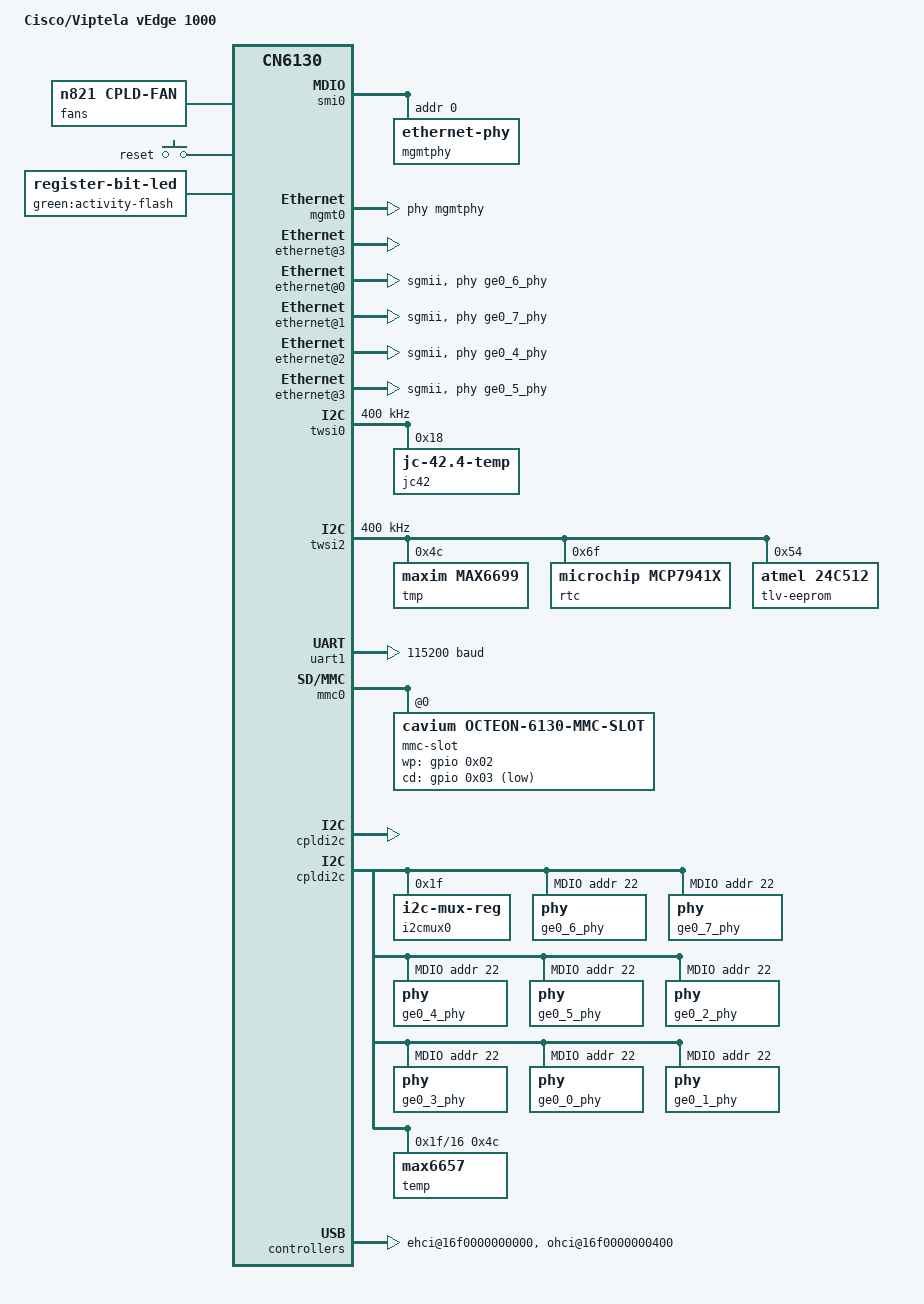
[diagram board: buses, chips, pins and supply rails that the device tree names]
// SPDX-License-Identifier: GPL-2.0-or-later OR MIT

#include <dt-bindings/gpio/gpio.h>
#include <dt-bindings/input/input.h>
#include <dt-bindings/interrupt-controller/irq.h>

/include/ "octeon_3xxx.dtsi"

/ {
	compatible = "cisco,vedge1000", "cavium,cn6130";
	model = "Cisco/Viptela vEdge 1000";
	#address-cells = <2>;
	#size-cells = <2>;
	interrupt-parent = <&ciu>;

	soc@0 {
		gpio: gpio-controller@1070000000800 {
			interrupts = <0x00 0x10>;
		};

		smi0: mdio@1180000001800 {
			mgmtphy: ethernet-phy@0 {
				reg = <0x00>;
			};
		};

		mgmt0: ethernet@1070000100000 {
			compatible = "cavium,octeon-5750-mix";
			reg = <0x10700 0x100000 0x00 0x100>,
			      <0x11800 0xe0000000 0x00 0x300>,
			      <0x11800 0xe0000400 0x00 0x400>,
			      <0x11800 0xe0002000 0x00 0x08>;
			cell-index = <0x00>;
			interrupts = <0x00 0x3e 0x01 0x2e>;
			nvmem-cells = <&macaddr_eeprom 0>;
			nvmem-cell-names = "mac-address";
			phy-handle = <&mgmtphy>;
		};

		pip: pip@11800a0000000 {
			interface@0 {
				ethernet@0 {
					nvmem-cells = <&macaddr_eeprom 3>;
					nvmem-cell-names = "mac-address";
					label = "lan2";
					/delete-property/ local-mac-address;
                                        cavium,sgmii-mac-1000x-mode;
				};

				ethernet@1 {
					nvmem-cells = <&macaddr_eeprom 4>;
					nvmem-cell-names = "mac-address";
					label = "lan3";
					/delete-property/ local-mac-address;
                                        cavium,sgmii-mac-1000x-mode;
				};

				ethernet@2 {
					nvmem-cells = <&macaddr_eeprom 1>;
					nvmem-cell-names = "mac-address";
					label = "lan0";
					/delete-property/ local-mac-address;
                                        cavium,sgmii-mac-1000x-mode;
				};

				ethernet@3 {
					compatible = "cavium,octeon-3860-pip-port";
					reg = <0x3>;
					nvmem-cells = <&macaddr_eeprom 2>;
					nvmem-cell-names = "mac-address";
					label = "lan1";
                                        cavium,sgmii-mac-1000x-mode;
				};
			};

			interface@1 {
				ethernet@0 {
					compatible = "cavium,octeon-3860-pip-port";
					reg = <0x0>;
					nvmem-cells = <&macaddr_eeprom 7>;
					nvmem-cell-names = "mac-address";
					label = "lan6";
#ifndef PHYLINK_SFP
					phy-handle = <&ge0_6_phy>;
					phy-connection-type = "sgmii";
#endif
				};

				ethernet@1 {
					compatible = "cavium,octeon-3860-pip-port";
					reg = <0x1>;
					nvmem-cells = <&macaddr_eeprom 8>;
					nvmem-cell-names = "mac-address";
					label = "lan7";
#ifndef PHYLINK_SFP
					phy-handle = <&ge0_7_phy>;
					phy-connection-type = "sgmii";
#endif
				};

				ethernet@2 {
					compatible = "cavium,octeon-3860-pip-port";
					reg = <0x2>;
					nvmem-cells = <&macaddr_eeprom 5>;
					nvmem-cell-names = "mac-address";
					label = "lan4";
#ifndef PHYLINK_SFP
					phy-handle = <&ge0_4_phy>;
					phy-connection-type = "sgmii";
#endif
				};

				ethernet@3 {
					compatible = "cavium,octeon-3860-pip-port";
					reg = <0x3>;
					nvmem-cells = <&macaddr_eeprom 6>;
					nvmem-cell-names = "mac-address";
					label = "lan5";
#ifndef PHYLINK_SFP
					phy-handle = <&ge0_5_phy>;
					phy-connection-type = "sgmii";
#endif
				};
			};
		};

		twsi0: i2c@1180000001000 {
			clock-frequency = <400000>;

			jc42@18 {
				compatible = "jedec,jc-42.4-temp";
				reg = <0x18>;
			};
		};

		twsi2: i2c@1180000001200 {
			#address-cells = <1>;
			#size-cells = <0>;
			compatible = "cavium,octeon-3860-twsi";
			reg = <0x11800 0x1200 0x00 0x200>;
			interrupts = <0x00 0x3b>;
			clock-frequency = <400000>;

			tmp@4c {
				compatible = "maxim,max6699";
				reg = <0x4c>;
			};

			rtc@6f {
				compatible = "microchip,mcp7941x";
				reg = <0x6f>;
			};

			tlv-eeprom@54 {
				compatible = "atmel,24c512";
				reg = <0x54>;
				pagesize = <0x80>;

				nvmem-layout {
					compatible = "fixed-layout";
					#address-cells = <1>;
					#size-cells = <1>;

					macaddr_eeprom: mac-address@8 {
						compatible = "mac-base";
						reg = <0x8 6>;
						#nvmem-cell-cells = <1>;
					};
				};
			};
		};

		uart0: serial@1180000000800 {
			clock-frequency = <600000000>;
			current-speed = <115200>;
		};

		uart1: serial@1180000000c00 {
			compatible = "cavium,octeon-3860-uart", "ns16550";
			reg = <0x11800 0xc00 0x00 0x400>;
			reg-shift = <0x03>;
			interrupts = <0x00 0x23>;
			clock-frequency = <600000000>;
			current-speed = <115200>;
		};

		mmc0: mmc@1180000002000 {
			compatible = "cavium,octeon-6130-mmc";
			reg = <0x11800 0x2000 0x00 0x100 0x11800 0x168 0x00 0x20>;
			#address-cells = <1>;
			#size-cells = <0>;
			interrupts = <0x01 0x13 0x00 0x3f>;

			mmc-slot@0 {
				compatible = "cavium,octeon-6130-mmc-slot";
				reg = <0x00>;
				voltage-ranges = <0xce4 0xce4>;
				max-frequency = <0x3197500>;
				wp-gpios = <&gpio 0x02 0x00>;
				cd-gpios = <&gpio 0x03 0x01>;
				cavium,bus-max-width = <0x04>;
			};
		};

		bootbus: bootbus@1180000000000 {
			compatible = "cavium,octeon-3860-bootbus";
			reg = <0x11800 0x00 0x00 0x200>;
			#address-cells = <2>;
			#size-cells = <1>;
			ranges = <0 0 0x00 0x1ec00000 0x1400000>,
				 <1 0 0x10000 0x20000000 0x00>,
				 <2 0 0x10000 0x30000000 0x00>,
				 <3 0 0x10000 0x40000000 0x00>,
				 <4 0 0x10000 0x50000000 0x00>,
				 <5 0 0x10000 0x60000000 0x00>,
				 <6 0 0x00 0x1e000000 0x10000>,
				 <7 0 0x10000 0x80000000 0x00>;

			cavium,cs-config@0 {
				compatible = "cavium,octeon-3860-bootbus-config";
				cavium,cs-index = <0x00>;
				cavium,t-adr = <0x0a>;
				cavium,t-ce = <0x32>;
				cavium,t-oe = <0x32>;
				cavium,t-we = <0x23>;
				cavium,t-rd-hld = <0x19>;
				cavium,t-wr-hld = <0x23>;
				cavium,t-pause = <0x00>;
				cavium,t-wait = <0x12c>;
				cavium,t-page = <0x19>;
				cavium,t-rd-dly = <0x00>;
				cavium,t-ale = <0x03>;
				cavium,pages = <0x00>;
				cavium,bus-width = <0x10>;
			};

			/delete-node/ cavium,cs-config@1;
			/delete-node/ cavium,cs-config@2;
			/delete-node/ cavium,cs-config@3;
			/delete-node/ cavium,cs-config@4;
			/delete-node/ cavium,cs-config@5;

			cavium,cs-config@6 {
				compatible = "cavium,octeon-3860-bootbus-config";
				cavium,cs-index = <0x06>;
				cavium,t-adr = <0x0a>;
				cavium,t-ce = <0x0a>;
				cavium,t-oe = <0xa0>;
				cavium,t-we = <0x64>;
				cavium,t-rd-hld = <0x00>;
				cavium,t-wr-hld = <0x00>;
				cavium,t-pause = <0x32>;
				cavium,t-wait = <0x12c>;
				cavium,t-page = <0x12c>;
				cavium,t-rd-dly = <0x0a>;
				cavium,t-ale = <0x3f>;
				cavium,pages = <0x00>;
				cavium,bus-width = <0x08>;
				/delete-property/ cavium,wait-mode;
			};

			flash0: nor@0,0 {
				compatible = "cfi-flash";
				reg = <0x00 0x00 0x1000000>;
				bank-width = <2>;
				device-width = <1>;

				#address-cells = <1>;
				#size-cells = <1>;

				partition@0 {
					label = "bootloader";
					reg = <0x00 0x200000>;
					read-only;
				};

				partition@fe0000 {
					label = "environment";
					reg = <0xfe0000 0x20000>;
				};
			};

                        cpld: cpld@6,0 {
                                compatible = "cisco,n821-cpld", "syscon", "simple-mfd";
                                #address-cells = <1>;
                                #size-cells = <1>;
                                reg-io-width = <1>; // Syscon uses 4-byte accesses by default

                                reg = <0x06 0x00 0x28>;     // This is the regmap to be defined for syscon devices..
                                ranges = <0 0x06 0x0 0x50>; // .. and this is the addresses to map general subdevices on

                                interrupt-controller;
                                #interrupt-cells = <1>;
                                interrupts-extended = <&gpio 1 IRQ_TYPE_LEVEL_LOW>;

                                cpldi2c: n821-cpld-i2c@38 {
                                        compatible = "n821,cpld-i2c";
                                        reg = <0x38 0x8>;
                                        interrupts = <0>; // TODO: Verify correct IRQ
                                };

                                fans: n821-cpld-fan {
                                        compatible = "n821,cpld-fan";
                                };

                                sfpgpio: n821-cpld-gpio {
                                        compatible = "n821,cpld-gpio";
                                        #gpio-cells = <2>;
                                };

                                psus: n821-cpld-psu {
                                        compatible = "n821,cpld-psu";
                                };

                                poweroff {
                                        compatible = "syscon-poweroff";
                                        regmap = <&cpld>;
                                        offset = <0x5>;
                                        value = <0>;
                                        mask = <0xff>;
                                };

                                reset-button {
                                        compatible = "gpio-keys";
                                        reset {
                                                  label = "reset";
                                                  interrupts = <1>;
                                                  linux,code = <KEY_RESTART>;
                                                  debounce-interval = <60>;
                                        };
                                };

                                sysled {
                                        compatible = "register-bit-led";
                                        offset = <0x12>;
                                        mask = <0x1>;
                                        label = "green:activity";
                                        linux,default-trigger = "heartbeat";
                                        default-state = "on";
                                };
                                sysled-flash {
                                        compatible = "register-bit-led";
                                        offset = <0x12>;
                                        mask = <0x2>;
                                        label = "green:activity-flash";
                                        default-state = "off";
                                };
                                statusled {
                                        compatible = "register-bit-led";
                                        offset = <0x12>;
                                        mask = <0x10>;
                                        label = "green:status";
                                        default-state = "on";
                                };
                                lan0-linkled {
                                        compatible = "register-bit-led";
                                        offset = <0x17>;
                                        mask = <0x1>;
                                        label = "lan0:green:status";
                                };
                                lan0-actled {
                                        compatible = "register-bit-led";
                                        offset = <0x17>;
                                        mask = <0x4>;
                                        label = "lan0:green:activity";
                                };
                                lan1-linkled {
                                        compatible = "register-bit-led";
                                        offset = <0x17>;
                                        mask = <0x10>;
                                        label = "lan1:green:status";
                                };
                                lan1-actled {
                                        compatible = "register-bit-led";
                                        offset = <0x17>;
                                        mask = <0x40>;
                                        label = "lan1:green:activity";
                                };
                                lan2-linkled {
                                        compatible = "register-bit-led";
                                        offset = <0x16>;
                                        mask = <0x1>;
                                        label = "lan2:green:status";
                                };
                                lan2-actled {
                                        compatible = "register-bit-led";
                                        offset = <0x16>;
                                        mask = <0x4>;
                                        label = "lan2:green:activity";
                                };
                                lan3-linkled {
                                        compatible = "register-bit-led";
                                        offset = <0x16>;
                                        mask = <0x10>;
                                        label = "lan3:green:status";
                                };
                                lan3-actled {
                                        compatible = "register-bit-led";
                                        offset = <0x16>;
                                        mask = <0x40>;
                                        label = "lan3:green:activity";
                                };
                                lan4-linkled {
                                        compatible = "register-bit-led";
                                        offset = <0x15>;
                                        mask = <0x1>;
                                        label = "lan4:green:status";
                                };
                                lan4-actled {
                                        compatible = "register-bit-led";
                                        offset = <0x15>;
                                        mask = <0x4>;
                                        label = "lan4:green:activity";
                                };
                                lan5-linkled {
                                        compatible = "register-bit-led";
                                        offset = <0x15>;
                                        mask = <0x10>;
                                        label = "lan5:green:status";
                                };
                                lan5-actled {
                                        compatible = "register-bit-led";
                                        offset = <0x15>;
                                        mask = <0x40>;
                                        label = "lan5:green:activity";
                                };
                                lan6-linkled {
                                        compatible = "register-bit-led";
                                        offset = <0x14>;
                                        mask = <0x1>;
                                        label = "lan6:green:status";
                                };
                                lan6-actled {
                                        compatible = "register-bit-led";
                                        offset = <0x14>;
                                        mask = <0x4>;
                                        label = "lan6:green:activity";
                                };
                                lan7-linkled {
                                        compatible = "register-bit-led";
                                        offset = <0x14>;
                                        mask = <0x10>;
                                        label = "lan7:green:status";
                                };
                                lan7-actled {
                                        compatible = "register-bit-led";
                                        offset = <0x14>;
                                        mask = <0x40>;
                                        label = "lan7:green:activity";
                                };

                                i2cmux0: i2c-mux@1f {
                                        compatible = "i2c-mux-reg";
                                        reg = <0x1f 0x1>;
                                        #address-cells = <1>;
                                        #size-cells = <0>;
                                        i2c-parent = <&cpldi2c>;

                                        ge0_6_i2c: i2c@0 {
                                                reg = <0x00>;
                                                i2c-name = "ge0_6";
                                                #address-cells = <1>;
                                                #size-cells = <0>;
#ifndef PHYLINK_SFP
                                                ge0_6_mdio: mdio@56 {
                                                        compatible = "mdio-i2c-gen";
                                                        reg = <0x56>;
                                                        #address-cells = <1>;
                                                        #size-cells = <0>;
                                                        ge0_6_phy: phy@16 {
                                                                reg = <0x16>;
                                                        };
                                                };
#endif
                                        };

                                        ge0_7_i2c: i2c@1 {
                                                reg = <0x01>;
                                                i2c-name = "ge0_7";
                                                #address-cells = <1>;
                                                #size-cells = <0>;
#ifndef PHYLINK_SFP
                                                ge0_7_mdio: mdio@56 {
                                                        compatible = "mdio-i2c-gen";
                                                        reg = <0x56>;
                                                        #address-cells = <1>;
                                                        #size-cells = <0>;
                                                        ge0_7_phy: phy@16 {
                                                                reg = <0x16>;
                                                        };
                                                };
#endif
                                        };

                                        ge0_4_i2c: i2c@2 {
                                                reg = <0x02>;
                                                i2c-name = "ge0_4";
                                                #address-cells = <1>;
                                                #size-cells = <0>;
#ifndef PHYLINK_SFP
                                                ge0_4_mdio: mdio@56 {
                                                        compatible = "mdio-i2c-gen";
                                                        reg = <0x56>;
                                                        #address-cells = <1>;
                                                        #size-cells = <0>;
                                                        ge0_4_phy: phy@16 {
                                                                reg = <0x16>;
                                                        };
                                                };
#endif
                                        };

                                        ge0_5_i2c: i2c@3 {
                                                reg = <0x03>;
                                                i2c-name = "ge0_5";
                                                #address-cells = <1>;
                                                #size-cells = <0>;
#ifndef PHYLINK_SFP
                                                ge0_5_mdio: mdio@56 {
                                                        compatible = "mdio-i2c-gen";
                                                        reg = <0x56>;
                                                        #address-cells = <1>;
                                                        #size-cells = <0>;
                                                        ge0_5_phy: phy@16 {
                                                                reg = <0x16>;
                                                        };
                                                };
#endif
                                        };

                                        ge0_2_i2c: i2c@4 {
                                                reg = <0x04>;
                                                i2c-name = "ge0_2";
                                                #address-cells = <1>;
                                                #size-cells = <0>;
#ifndef PHYLINK_SFP
                                                ge0_2_mdio: mdio@56 {
                                                        compatible = "mdio-i2c-gen";
                                                        reg = <0x56>;
                                                        #address-cells = <1>;
                                                        #size-cells = <0>;
                                                        ge0_2_phy: phy@16 {
                                                                reg = <0x16>;
                                                        };
                                                };
#endif
                                        };

                                        ge0_3_i2c: i2c@5 {
                                                reg = <0x05>;
                                                i2c-name = "ge0_3";
                                                #address-cells = <1>;
                                                #size-cells = <0>;
#ifndef PHYLINK_SFP
                                                ge0_3_mdio: mdio@56 {
                                                        compatible = "mdio-i2c-gen";
                                                        reg = <0x56>;
                                                        #address-cells = <1>;
                                                        #size-cells = <0>;
                                                        ge0_3_phy: phy@16 {
                                                                reg = <0x16>;
                                                        };
                                                };
#endif
                                        };

                                        ge0_0_i2c: i2c@6 {
                                                reg = <0x06>;
                                                i2c-name = "ge0_0";
                                                #address-cells = <1>;
                                                #size-cells = <0>;
#ifndef PHYLINK_SFP
                                                ge0_0_mdio: mdio@56 {
                                                        compatible = "mdio-i2c-gen";
                                                        reg = <0x56>;
                                                        #address-cells = <1>;
                                                        #size-cells = <0>;
                                                        ge0_0_phy: phy@16 {
                                                                reg = <0x16>;
                                                        };
                                                };
#endif
                                        };

                                        ge0_1_i2c: i2c@7 {
                                                reg = <0x07>;
                                                i2c-name = "ge0_1";
                                                #address-cells = <1>;
                                                #size-cells = <0>;
#ifndef PHYLINK_SFP
                                                ge0_1_mdio: mdio@56 {
                                                        compatible = "mdio-i2c-gen";
                                                        reg = <0x56>;
                                                        #address-cells = <1>;
                                                        #size-cells = <0>;
                                                        ge0_1_phy: phy@16 {
                                                                reg = <0x16>;
                                                        };
                                                };
#endif
                                        };

                                        i2c@10 {
                                                reg = <0x10>;
                                                i2c-name = "temp";
                                                #address-cells = <1>;
                                                #size-cells = <0>;

                                                temp@4c {
                                                        compatible = "max6657";
                                                        reg = <0x4c>;
                                                };
                                        };
                                };
                        };
		};

		uctl@118006f000000 {
			compatible = "cavium,octeon-6335-uctl";
			reg = <0x11800 0x6f000000 0x00 0x100>;
			ranges;
			#address-cells = <2>;
			#size-cells = <2>;
			refclk-frequency = <0xb71b00>;
			refclk-type = "crystal";

			ehci@16f0000000000 {
				compatible = "cavium,octeon-6335-ehci", "usb-ehci";
				reg = <0x16f00 0x00 0x00 0x100>;
				interrupts = <0x00 0x38>;
				big-endian-regs;
			};

			ohci@16f0000000400 {
				compatible = "cavium,octeon-6335-ohci", "usb-ohci";
				reg = <0x16f00 0x400 0x00 0x100>;
				interrupts = <0x00 0x38>;
				big-endian-regs;
			};
		};
	};
};
